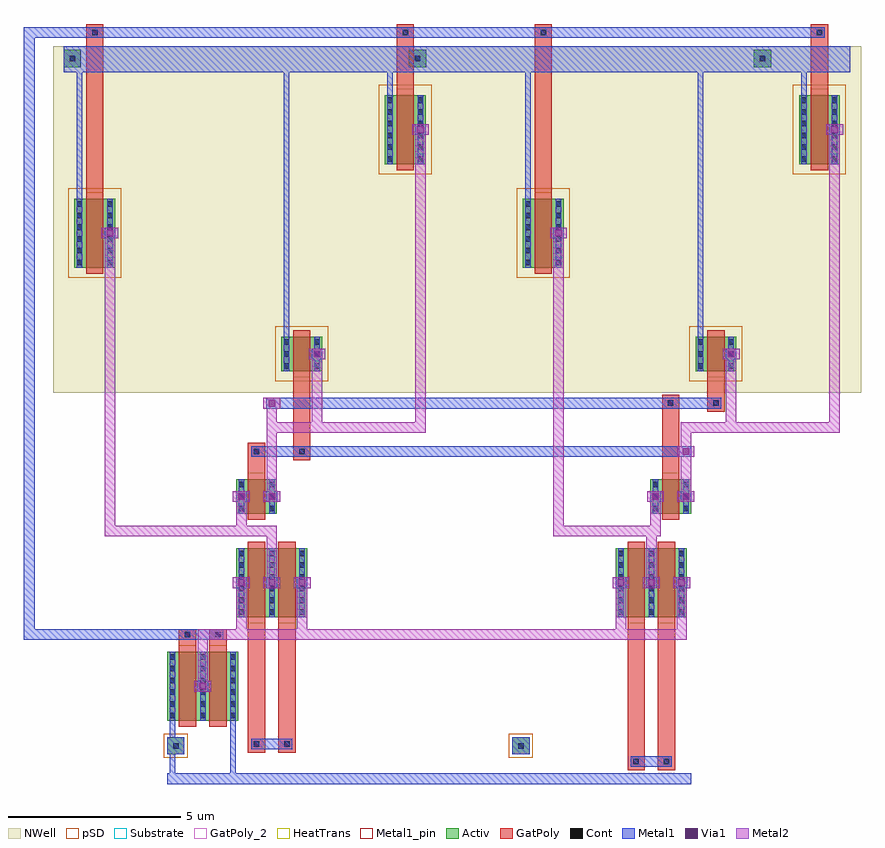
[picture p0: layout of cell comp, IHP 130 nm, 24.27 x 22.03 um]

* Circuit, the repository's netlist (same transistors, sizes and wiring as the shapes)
.subckt comp c_tail c_di_p c_di_n comp_outp comp_outn comp_clk ota_out vref_comp gnd vdd
MMc_tail_0 c_tail comp_clk gnd gnd sg13_lv_nmos w=2u l=0.5u ng=1 m=1
MMc_tail_1 gnd comp_clk c_tail gnd sg13_lv_nmos w=2u l=0.5u ng=1 m=1
MMc_inp_0 c_di_p ota_out c_tail gnd sg13_lv_nmos w=2u l=0.5u ng=1 m=1
MMc_inp_1 c_tail ota_out c_di_p gnd sg13_lv_nmos w=2u l=0.5u ng=1 m=1
MMc_inn_0 c_di_n vref_comp c_tail gnd sg13_lv_nmos w=2u l=0.5u ng=1 m=1
MMc_inn_1 c_tail vref_comp c_di_n gnd sg13_lv_nmos w=2u l=0.5u ng=1 m=1
MMc_ln1 comp_outp comp_outn c_di_p gnd sg13_lv_nmos w=1u l=0.5u ng=1 m=1
MMc_ln2 comp_outn comp_outp c_di_n gnd sg13_lv_nmos w=1u l=0.5u ng=1 m=1
MMc_lp1 comp_outp comp_outn vdd vdd sg13_lv_pmos w=1u l=0.5u ng=1 m=1
MMc_lp2 comp_outn comp_outp vdd vdd sg13_lv_pmos w=1u l=0.5u ng=1 m=1
MMc_rst_dp c_di_p comp_clk vdd vdd sg13_lv_pmos w=2u l=0.5u ng=1 m=1
MMc_rst_dn c_di_n comp_clk vdd vdd sg13_lv_pmos w=2u l=0.5u ng=1 m=1
MMc_rst_op comp_outp comp_clk vdd vdd sg13_lv_pmos w=2u l=0.5u ng=1 m=1
MMc_rst_on comp_outn comp_clk vdd vdd sg13_lv_pmos w=2u l=0.5u ng=1 m=1
.ends comp

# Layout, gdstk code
import gdstk
lib = gdstk.Library(unit=1e-6, precision=1e-09)
def R(c, l, rs):  # rectangles x0, y0, x1, y1
    for r in rs: c.add(gdstk.rectangle(r[:2], r[2:], *l))
def A(c, l, x, y, w, h, nx, ny, dx, dy):  # array of equal rectangles
    R(c, l, [(x+i*dx, y+j*dy, x+i*dx+w, y+j*dy+h) for i in range(nx) for j in range(ny)])
Activ = (1, 0)
GatPoly = (5, 0)
GatPoly_2 = (5, 2)
Cont = (6, 0)
Metal1 = (8, 0)
Metal1_pin = (8, 2)
Metal2 = (10, 0)
pSD = (14, 0)
Via1 = (19, 0)
NWell = (31, 0)
Substrate = (40, 0)
HeatTrans = (51, 0)

nmos = lib.new_cell('nmos')
A(nmos, Activ, 0, 0, 0.3, 0.3, 3, 1, 0.88, 0)
R(nmos, Activ, [(0,0,2.06,2)])
R(nmos, GatPoly, [(0.34,-0.18,0.84,2.18), (1.22,-0.18,1.72,2.18)])
R(nmos, GatPoly_2, [(0.34,-0.18,0.84,2.18)])
A(nmos, Cont, 0.07, 0.07, 0.16, 0.16, 3, 6, 0.88, 0.34)
A(nmos, Metal1, 0.07, 0, 0.16, 2, 3, 1, 0.88, 0)
R(nmos, Metal1_pin, [(0.07,0,0.23,2), (0.95,0,1.11,2)])
R(nmos, HeatTrans, [(0.34,-0.18,0.84,2.18), (1.22,-0.18,1.72,2.18)])
nmos.add(gdstk.Label('nmos', (0.59,1), layer=63, texttype=0))
nmos.add(gdstk.Label('nmos', (0.59,1), layer=51, texttype=0))
nmos.add(gdstk.Label('nmos', (1.47,1), layer=51, texttype=0))

nmos_1 = lib.new_cell('nmos$1')
R(nmos_1, Activ, [(0,0,0.3,0.3), (0,0,1.18,1), (0.88,0,1.18,0.3)])
R(nmos_1, GatPoly, [(0.34,-0.18,0.84,1.18)])
R(nmos_1, GatPoly_2, [(0.34,-0.18,0.84,1.18)])
A(nmos_1, Cont, 0.07, 0.07, 0.16, 0.16, 1, 3, 0, 0.35)
A(nmos_1, Cont, 0.95, 0.07, 0.16, 0.16, 1, 3, 0, 0.35)
R(nmos_1, Metal1, [(0.07,0,0.23,1), (0.95,0,1.11,1)])
R(nmos_1, Metal1_pin, [(0.07,0,0.23,1), (0.95,0,1.11,1)])
R(nmos_1, HeatTrans, [(0.34,-0.18,0.84,1.18)])
nmos_1.add(gdstk.Label('nmos', (0.59,0.5), layer=63, texttype=0))
nmos_1.add(gdstk.Label('nmos', (0.59,0.5), layer=51, texttype=0))

pmos = lib.new_cell('pmos')
R(pmos, Activ, [(0,0,0.3,0.3), (0,0,1.18,1), (0.88,0,1.18,0.3)])
R(pmos, GatPoly, [(0.34,-0.18,0.84,1.18), (0.34,-0.18,0.84,1.18)])
A(pmos, Cont, 0.07, 0.07, 0.16, 0.16, 1, 3, 0, 0.35)
A(pmos, Cont, 0.95, 0.07, 0.16, 0.16, 1, 3, 0, 0.35)
R(pmos, Metal1, [(0.07,0,0.23,1), (0.07,0,0.23,1), (0.95,0,1.11,1), (0.95,0,1.11,1)])
R(pmos, pSD, [(-0.18,-0.3,1.36,1.3)])
R(pmos, NWell, [(-0.31,-0.31,1.49,1.31)])
R(pmos, Substrate, [(0.88,0,1.18,0.3)])
R(pmos, HeatTrans, [(0.34,-0.18,0.84,1.18)])
pmos.add(gdstk.Label('pmos', (0.59,0.5), layer=63, texttype=0))
pmos.add(gdstk.Label('pmos', (0.59,0.5), layer=51, texttype=0))

pmos_1 = lib.new_cell('pmos$1')
R(pmos_1, Activ, [(0,0,0.3,0.3), (0,0,1.18,2), (0.88,0,1.18,0.3)])
R(pmos_1, GatPoly, [(0.34,-0.18,0.84,2.18), (0.34,-0.18,0.84,2.18)])
A(pmos_1, Cont, 0.07, 0.07, 0.16, 0.16, 1, 6, 0, 0.34)
A(pmos_1, Cont, 0.95, 0.07, 0.16, 0.16, 1, 6, 0, 0.34)
R(pmos_1, Metal1, [(0.07,0,0.23,2), (0.07,0,0.23,2), (0.95,0,1.11,2), (0.95,0,1.11,2)])
R(pmos_1, pSD, [(-0.18,-0.3,1.36,2.3)])
R(pmos_1, NWell, [(-0.31,-0.31,1.49,2.31)])
R(pmos_1, Substrate, [(0.88,0,1.18,0.3)])
R(pmos_1, HeatTrans, [(0.34,-0.18,0.84,2.18)])
pmos_1.add(gdstk.Label('pmos', (0.59,1), layer=63, texttype=0))
pmos_1.add(gdstk.Label('pmos', (0.59,1), layer=51, texttype=0))

comp = lib.new_cell('comp')
A(comp, Activ, -3, 19.12, 0.5, 0.5, 3, 1, 10, 0)
R(comp, Activ, [(0,-0.8,0.5,-0.3), (10,-0.8,10.5,-0.3)])
R(comp, GatPoly, [(13.34,-1.25,13.84,3), (14.22,-1.25,14.72,3), (2.34,-0.75,2.84,3), (3.22,-0.75,3.72,3), (0.34,2.36,0.84,2.83), (1.22,2.36,1.72,2.83), (2.34,7.36,2.84,8.23), (14.34,7.36,14.84,9.63), (3.65,7.73,4.15,10.13), (15.65,9.13,16.15,10.13), (-2.35,15.49,-1.85,20.37), (10.65,15.49,11.15,20.37), (6.65,18.49,7.15,20.37), (18.65,18.49,19.15,20.37)])
A(comp, Cont, -2.83, 19.29, 0.16, 0.16, 3, 1, 10, 0)
R(comp, Cont, [(13.51,-1.08,13.67,-0.92), (14.39,-1.08,14.55,-0.92), (0.17,-0.63,0.33,-0.47), (10.17,-0.63,10.33,-0.47), (2.51,-0.58,2.67,-0.42), (3.39,-0.58,3.55,-0.42), (0.51,2.6,0.67,2.76), (1.39,2.6,1.55,2.76), (2.51,7.9,2.67,8.06), (3.82,7.9,3.98,8.06), (14.51,9.3,14.67,9.46), (15.82,9.3,15.98,9.46), (-2.18,20.04,-2.02,20.2), (6.82,20.04,6.98,20.2), (10.82,20.04,10.98,20.2), (18.82,20.04,18.98,20.2)])
A(comp, Metal1, 1.995, 4.025, 0.31, 0.31, 3, 1, 0.88, 0)
A(comp, Metal1, 12.995, 4.025, 0.31, 0.31, 3, 1, 0.88, 0)
A(comp, Metal1, -3, 19.12, 0.5, 0.5, 3, 1, 10, 0)
R(comp, Metal1, [(0,-1.655,15.18,-1.345), (0.07,-1.345,0.23,0.18), (1.83,-1.345,1.99,0.18), (13.435,-1.155,13.745,-0.845), (13.435,-1.155,14.625,-0.845), (14.315,-1.155,14.625,-0.845), (0,-0.8,0.5,-0.3), (10,-0.8,10.5,-0.3), (2.435,-0.655,2.745,-0.345), (2.435,-0.655,3.625,-0.345), (3.315,-0.655,3.625,-0.345), (0.875,1.025,1.185,1.335), (-4.155,2.525,1.625,2.835), (-4.155,2.525,-3.845,20.275), (0.435,2.525,0.745,2.835), (0.435,2.525,1.625,2.835), (1.315,2.525,1.625,2.835), (1.995,6.525,2.305,6.835), (2.875,6.525,3.185,6.835), (13.995,6.525,14.305,6.835), (14.875,6.525,15.185,6.835), (2.435,7.825,2.745,8.135), (2.435,7.825,4.055,8.135), (2.435,7.825,15.185,8.135), (3.745,7.825,4.055,8.135), (14.875,7.825,15.185,8.135), (2.875,9.225,3.185,9.535), (2.875,9.225,16.055,9.535), (14.435,9.225,14.745,9.535), (14.435,9.225,16.055,9.535), (15.745,9.225,16.055,9.535), (4.185,10.655,4.495,10.965), (16.185,10.655,16.495,10.965), (3.38,11.31,3.54,18.965), (15.38,11.31,15.54,18.965), (-1.815,14.155,-1.505,14.465), (11.185,14.155,11.495,14.465), (-2.62,15.31,-2.46,18.965), (10.38,15.31,10.54,18.965), (7.185,17.155,7.495,17.465), (19.185,17.155,19.495,17.465), (6.38,18.31,6.54,18.965), (18.38,18.31,18.54,18.965), (-3,18.965,19.8,19.72), (-4.155,19.965,1.625,20.275), (-4.155,19.965,19.055,20.275), (-2.255,19.965,-1.945,20.275), (6.745,19.965,7.055,20.275), (10.745,19.965,11.055,20.275), (18.745,19.965,19.055,20.275)])
A(comp, Metal2, 1.905, 4.025, 0.49, 0.31, 3, 1, 0.88, 0)
A(comp, Metal2, 12.905, 4.025, 0.49, 0.31, 3, 1, 0.88, 0)
R(comp, Metal2, [(0.785,1.025,1.275,1.335), (0.88,1.025,1.18,2.835), (0.88,2.525,4.06,2.835), (0.88,2.525,15.06,2.835), (2,2.525,2.3,4.335), (3.76,2.525,4.06,4.335), (13,2.525,13.3,4.335), (14.76,2.525,15.06,4.335), (2.88,4.025,3.18,5.835), (13.88,4.025,14.18,5.835), (-1.81,5.525,-1.51,14.465), (-1.81,5.525,3.18,5.835), (2,5.525,2.3,6.835), (11.19,5.525,11.49,14.465), (11.19,5.525,14.3,5.835), (14,5.525,14.3,6.835), (1.905,6.525,2.395,6.835), (2.785,6.525,3.275,6.835), (2.88,6.525,3.18,8.835), (13.905,6.525,14.395,6.835), (14.785,6.525,15.275,6.835), (14.88,6.525,15.18,8.835), (14.785,7.825,15.275,8.135), (14.88,7.825,15.18,8.835), (2.88,8.525,7.49,8.835), (2.88,8.525,3.18,9.535), (4.19,8.525,4.49,10.965), (7.19,8.525,7.49,17.465), (14.88,8.525,19.49,8.835), (16.19,8.525,16.49,10.965), (19.19,8.525,19.49,17.465), (2.785,9.225,3.275,9.535), (4.095,10.655,4.585,10.965), (16.095,10.655,16.585,10.965), (-1.905,14.155,-1.415,14.465), (11.095,14.155,11.585,14.465), (7.095,17.155,7.585,17.465), (19.095,17.155,19.585,17.465)])
R(comp, pSD, [(-0.1,-0.9,0.6,-0.2), (9.9,-0.9,10.6,-0.2)])
A(comp, Via1, 2.055, 4.085, 0.19, 0.19, 3, 1, 0.88, 0)
A(comp, Via1, 13.055, 4.085, 0.19, 0.19, 3, 1, 0.88, 0)
R(comp, Via1, [(0.935,1.085,1.125,1.275), (2.055,6.585,2.245,6.775), (2.935,6.585,3.125,6.775), (14.055,6.585,14.245,6.775), (14.935,6.585,15.125,6.775), (14.935,7.885,15.125,8.075), (2.935,9.285,3.125,9.475), (4.245,10.715,4.435,10.905), (16.245,10.715,16.435,10.905), (-1.755,14.215,-1.565,14.405), (11.245,14.215,11.435,14.405), (7.245,17.215,7.435,17.405), (19.245,17.215,19.435,17.405)])
R(comp, NWell, [(-3.31,9.69,20.11,19.72)])
comp.add(gdstk.Reference(nmos, (0,0.18)))
comp.add(gdstk.Reference(nmos, (2,3.18)))
comp.add(gdstk.Reference(nmos, (13,3.18)))
comp.add(gdstk.Reference(nmos_1, (2,6.18)))
comp.add(gdstk.Reference(nmos_1, (14,6.18)))
comp.add(gdstk.Reference(pmos, (3.31,10.31)))
comp.add(gdstk.Reference(pmos, (15.31,10.31)))
comp.add(gdstk.Reference(pmos_1, (-2.69,13.31)))
comp.add(gdstk.Reference(pmos_1, (10.31,13.31)))
comp.add(gdstk.Reference(pmos_1, (6.31,16.31)))
comp.add(gdstk.Reference(pmos_1, (18.31,16.31)))

lib.write_gds('comp.gds')
